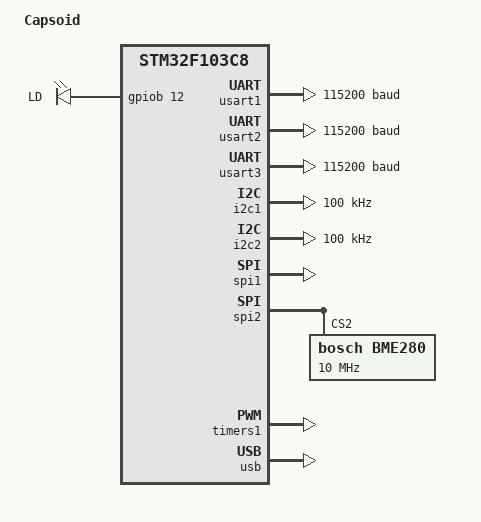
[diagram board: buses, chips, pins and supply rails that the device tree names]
/dts-v1/;
#include <st/f1/stm32f103X8.dtsi>

/ {
	model = "Capsoid";
	compatible = "st,stm32f103c8";

	chosen {
		zephyr,console = &usart2;
		zephyr,shell-uart = &usart2;
		zephyr,sram = &sram0;
		zephyr,flash = &flash0;
	};

	leds {
		compatible = "gpio-leds";
		led: led {
			gpios = <&gpiob 12 GPIO_INT_ACTIVE_HIGH>;
			label = "LD";
		};
	};

	aliases {
		led0 = &led;
	};
};

&usart1 {
	current-speed = <115200>;
	status = "okay";
};

&usart2 {
	current-speed = <115200>;
	status = "okay";
};

&usart3 {
	current-speed = <115200>;
	status = "okay";
};

&i2c1 {
	status = "okay";
	clock-frequency = <I2C_BITRATE_STANDARD>;
};

&i2c2 {
	status = "okay";
	clock-frequency = <I2C_BITRATE_STANDARD>;
};

&spi1 {
	status = "okay";
};

&spi2 {
	status = "okay";
    /* Why second slave select??? */
    bme280@2 {
        compatible = "bosch,bme280";
        reg = <2>;
        spi-max-frequency = <10000000>;
        label = "BME280";
        status = "okay";
    };

};

&timers1 {
	status = "okay";

	pwm {
		status = "okay";
	};
};

&usb {
	status = "okay";
};

